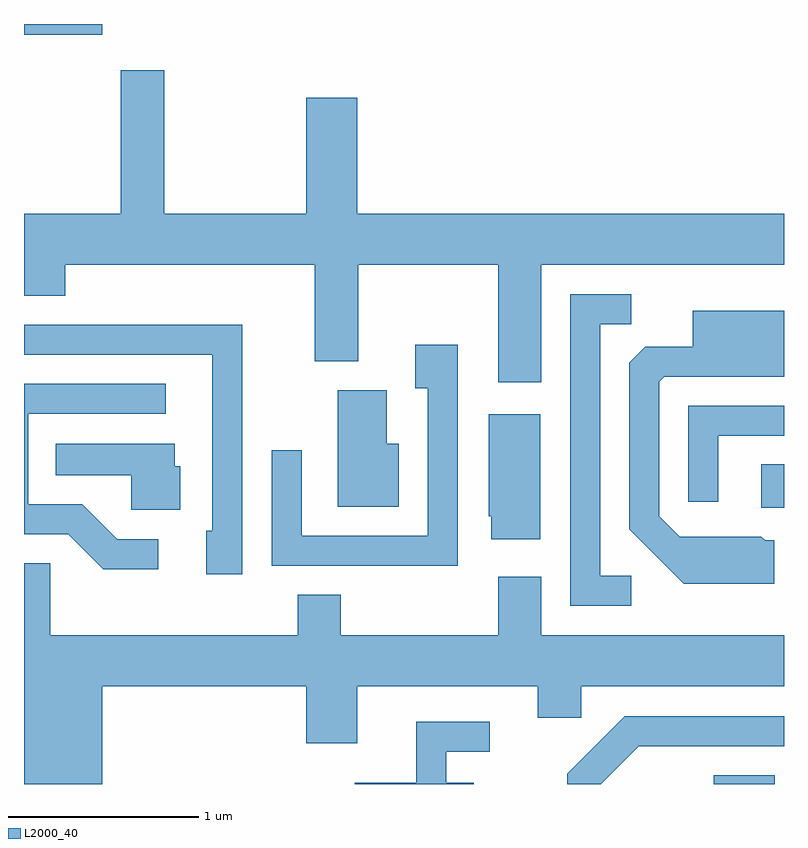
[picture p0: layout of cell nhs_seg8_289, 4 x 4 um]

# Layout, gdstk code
import gdstk
lib = gdstk.Library(unit=1e-6, precision=1e-09)
def R(c, l, rs):  # rectangles x0, y0, x1, y1
    for r in rs: c.add(gdstk.rectangle(r[:2], r[2:], *l))
def P(c, l, *ps):  # polygons
    for p in ps: c.add(gdstk.Polygon(p, *l))
L2000_40 = (2000, 40)

nhs_seg8_289 = lib.new_cell('nhs_seg8_289')
R(nhs_seg8_289, L2000_40, [(197.241,1840.342,197.563,1840.389), (197.491,1841.796,197.611,1842.024), (193.611,1844.286,194.024,1844.342)])
P(nhs_seg8_289, L2000_40, [(196.334,1843.076),(197.611,1843.076),(197.611,1843.344),(195.364,1843.344),(195.364,1843.954),(195.096,1843.954),(195.096,1843.344),(194.349,1843.344),(194.349,1844.099),(194.121,1844.099),(194.121,1843.344),(193.611,1843.344),(193.611,1842.911),(193.829,1842.911),(193.829,1843.076),(195.141,1843.076),(195.141,1842.566),(195.369,1842.566),(195.369,1843.076),(196.106,1843.076),(196.106,1842.456),(196.334,1842.456)],
  [(196.808,1841.439),(196.644,1841.439),(196.644,1842.761),(196.808,1842.761),(196.808,1842.919),(196.486,1842.919),(196.486,1841.281),(196.808,1841.281)],
  [(197.559,1841.624),(197.512,1841.624),(197.492,1841.644),(197.062,1841.644),(196.954,1841.752),(196.954,1842.459),(196.982,1842.486),(197.611,1842.486),(197.611,1842.834),(197.131,1842.834),(197.131,1842.644),(196.882,1842.644),(196.796,1842.559),(196.796,1841.684),(197.084,1841.396),(197.559,1841.396)],
  [(194.759,1842.759),(193.611,1842.759),(193.611,1842.601),(194.601,1842.601),(194.601,1841.674),(194.571,1841.674),(194.571,1841.446),(194.759,1841.446)],
  [(195.894,1842.654),(195.671,1842.654),(195.671,1842.426),(195.736,1842.426),(195.736,1841.649),(195.074,1841.649),(195.074,1842.098),(194.916,1842.098),(194.916,1841.491),(195.894,1841.491)],
  [(194.318,1841.629),(194.102,1841.629),(193.917,1841.814),(193.634,1841.814),(193.634,1842.291),(194.358,1842.291),(194.358,1842.449),(193.611,1842.449),(193.611,1841.656),(193.844,1841.656),(194.029,1841.471),(194.318,1841.471)],
  [(195.584,1842.134),(195.519,1842.134),(195.519,1842.414),(195.261,1842.414),(195.261,1841.801),(195.584,1841.801)],
  [(197.264,1842.176),(197.611,1842.176),(197.611,1842.334),(197.106,1842.334),(197.106,1841.828),(197.264,1841.828)],
  [(196.329,1842.289),(196.056,1842.289),(196.056,1841.75),(196.071,1841.75),(196.071,1841.631),(196.329,1841.631)],
  [(194.434,1842.014),(194.404,1842.014),(194.404,1842.134),(193.778,1842.134),(193.778,1841.966),(194.176,1841.966),(194.176,1841.786),(194.434,1841.786)],
  [(194.024,1840.856),(195.096,1840.856),(195.096,1840.556),(195.364,1840.556),(195.364,1840.856),(196.316,1840.856),(196.316,1840.691),(196.544,1840.691),(196.544,1840.856),(197.611,1840.856),(197.611,1841.124),(196.334,1841.124),(196.334,1841.434),(196.106,1841.434),(196.106,1841.124),(195.279,1841.124),(195.279,1841.339),(195.051,1841.339),(195.051,1841.124),(193.749,1841.124),(193.749,1841.504),(193.611,1841.504),(193.611,1840.342),(194.024,1840.342)],
  [(196.847,1840.541),(197.611,1840.541),(197.611,1840.699),(196.774,1840.699),(196.471,1840.397),(196.471,1840.342),(196.647,1840.342)],
  [(195.979,1840.349),(195.834,1840.349),(195.834,1840.511),(196.063,1840.511),(196.063,1840.669),(195.676,1840.669),(195.676,1840.349),(195.351,1840.349),(195.351,1840.342),(195.979,1840.342)])

lib.write_gds('nhs_seg8_289.gds')
